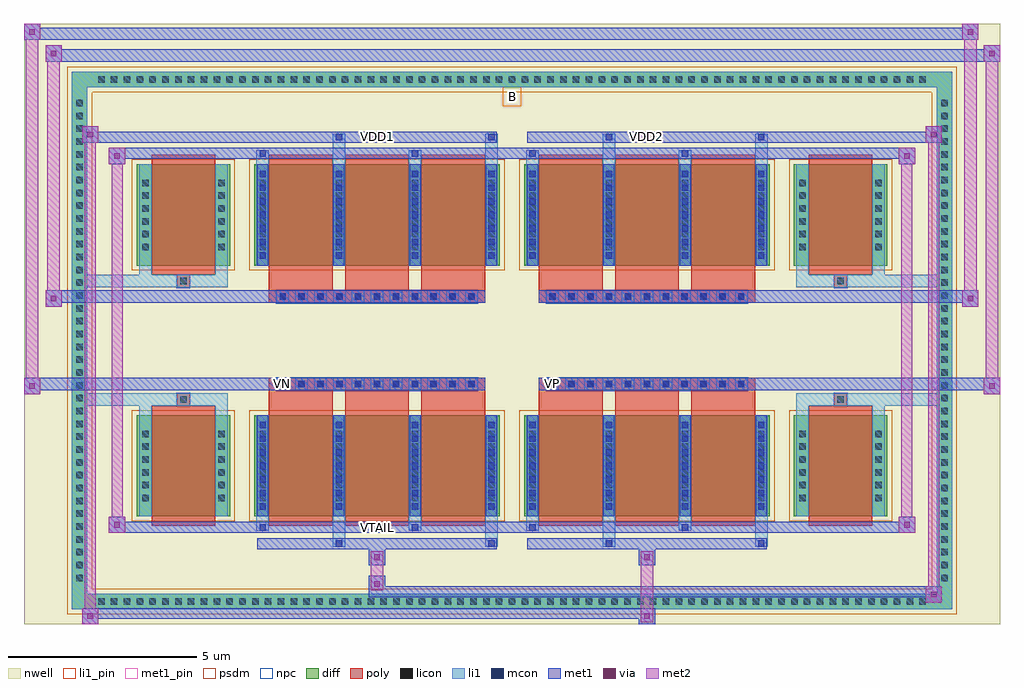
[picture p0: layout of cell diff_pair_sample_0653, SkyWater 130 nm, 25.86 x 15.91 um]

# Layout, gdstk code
import gdstk
lib = gdstk.Library(unit=1e-6, precision=5e-09)
def R(c, l, rs):  # rectangles x0, y0, x1, y1
    for r in rs: c.add(gdstk.rectangle(r[:2], r[2:], *l))
def A(c, l, x, y, w, h, nx, ny, dx, dy):  # array of equal rectangles
    R(c, l, [(x+i*dx, y+j*dy, x+i*dx+w, y+j*dy+h) for i in range(nx) for j in range(ny)])
def P(c, l, *ps):  # polygons
    for p in ps: c.add(gdstk.Polygon(p, *l))
nwell = (64, 20)
diff = (65, 20)
poly = (66, 20)
licon = (66, 44)
li1_pin = (67, 16)
li1 = (67, 20)
mcon = (67, 44)
met1_pin = (68, 16)
met1 = (68, 20)
via = (68, 44)
met2 = (69, 20)
psdm = (94, 20)
npc = (95, 20)

diff_pair_sample_0653 = lib.new_cell('diff_pair_sample_0653')
R(diff_pair_sample_0653, nwell, [(-12.93,-7.52,12.93,8.39), (-10.25,-5.71,-0.01,-0.795), (0.01,-5.71,10.25,-0.795), (-10.25,0.795,-0.01,5.71), (0.01,0.795,10.25,5.71)])
A(diff_pair_sample_0653, diff, -11.085, -7.12, 0.41, 0.41, 65, 2, 0.34, 13.83)
A(diff_pair_sample_0653, diff, -11.66, -6.495, 0.41, 0.41, 1, 38, 0, 0.34)
A(diff_pair_sample_0653, diff, 11.25, -6.495, 0.41, 0.41, 1, 38, 0, 0.34)
R(diff_pair_sample_0653, diff, [(-11.085,-7.12,11.085,-6.71), (-11.66,-6.495,-11.25,6.495), (11.25,-6.495,11.66,6.495), (-9.94,-4.665,-7.47,-1.985), (-6.83,-4.665,-0.32,-1.985), (0.32,-4.665,6.83,-1.985), (7.47,-4.665,9.94,-1.985), (-9.94,1.985,-7.47,4.665), (-6.83,1.985,-0.32,4.665), (0.32,1.985,6.83,4.665), (7.47,1.985,9.94,4.665), (-11.085,6.71,11.085,7.12)])
P(diff_pair_sample_0653, diff, [(11.66,7.12),(-11.66,7.12),(-11.66,-6.71),(-11.25,-6.71),(-11.25,6.71),(11.25,6.71),(11.25,-6.71),(-11.25,-6.71),(-11.66,-6.71),(-11.66,-7.12),(11.66,-7.12)])
A(diff_pair_sample_0653, poly, -6.44, -4.915, 1.69, 3.18, 3, 2, 2.02, 6.65)
A(diff_pair_sample_0653, poly, 0.71, -4.915, 1.69, 3.18, 3, 2, 2.02, 6.65)
A(diff_pair_sample_0653, poly, -6.44, -1.735, 1.69, 0.41, 3, 2, 2.02, 3.06)
A(diff_pair_sample_0653, poly, 0.71, -1.735, 1.69, 0.41, 3, 2, 2.02, 3.06)
A(diff_pair_sample_0653, poly, -6.24, -1.325, 0.33, 0.33, 11, 2, 0.5, 2.32)
A(diff_pair_sample_0653, poly, 0.91, -1.325, 0.33, 0.33, 11, 2, 0.5, 2.32)
R(diff_pair_sample_0653, poly, [(-9.55,-4.915,-7.86,-1.735), (7.86,-4.915,9.55,-1.735), (-8.87,-1.735,-8.54,-1.405), (-8.87,-1.735,-8.54,-1.405), (8.54,-1.735,8.87,-1.405), (8.54,-1.735,8.87,-1.405), (-6.44,-1.325,-0.71,-0.995), (0.71,-1.325,6.44,-0.995), (-6.44,0.995,-0.71,1.325), (0.71,0.995,6.44,1.325), (-8.87,1.405,-8.54,1.735), (-8.87,1.405,-8.54,1.735), (8.54,1.405,8.87,1.735), (8.54,1.405,8.87,1.735), (-9.55,1.735,-7.86,4.915), (7.86,1.735,9.55,4.915)])
A(diff_pair_sample_0653, licon, -10.965, -7, 0.17, 0.17, 65, 2, 0.34, 13.83)
A(diff_pair_sample_0653, licon, -11.54, -6.375, 0.17, 0.17, 1, 38, 0, 0.34)
A(diff_pair_sample_0653, licon, 11.37, -6.375, 0.17, 0.17, 1, 38, 0, 0.34)
A(diff_pair_sample_0653, licon, -9.8, -4.26, 0.17, 0.17, 1, 6, 0, 0.34)
A(diff_pair_sample_0653, licon, -7.78, -4.26, 0.17, 0.17, 1, 6, 0, 0.34)
A(diff_pair_sample_0653, licon, -6.69, -4.26, 0.17, 0.17, 4, 6, 2.02, 0.34)
A(diff_pair_sample_0653, licon, 0.46, -4.26, 0.17, 0.17, 4, 6, 2.02, 0.34)
A(diff_pair_sample_0653, licon, 7.61, -4.26, 0.17, 0.17, 1, 6, 0, 0.34)
A(diff_pair_sample_0653, licon, 9.63, -4.26, 0.17, 0.17, 1, 6, 0, 0.34)
A(diff_pair_sample_0653, licon, -6.16, -1.245, 0.17, 0.17, 11, 2, 0.5, 2.32)
A(diff_pair_sample_0653, licon, 0.99, -1.245, 0.17, 0.17, 11, 2, 0.5, 2.32)
A(diff_pair_sample_0653, licon, -9.8, 2.39, 0.17, 0.17, 1, 6, 0, 0.34)
A(diff_pair_sample_0653, licon, -7.78, 2.39, 0.17, 0.17, 1, 6, 0, 0.34)
A(diff_pair_sample_0653, licon, -6.69, 2.39, 0.17, 0.17, 4, 6, 2.02, 0.34)
A(diff_pair_sample_0653, licon, 0.46, 2.39, 0.17, 0.17, 4, 6, 2.02, 0.34)
A(diff_pair_sample_0653, licon, 7.61, 2.39, 0.17, 0.17, 1, 6, 0, 0.34)
A(diff_pair_sample_0653, licon, 9.63, 2.39, 0.17, 0.17, 1, 6, 0, 0.34)
R(diff_pair_sample_0653, licon, [(-8.79,-1.655,-8.62,-1.485), (8.62,-1.655,8.79,-1.485), (-8.79,1.485,-8.62,1.655), (8.62,1.485,8.79,1.655)])
R(diff_pair_sample_0653, li1_pin, [(-0.25,6.21,0.25,6.71)])
A(diff_pair_sample_0653, li1, -11.045, -7.08, 0.33, 0.33, 65, 2, 0.34, 13.83)
A(diff_pair_sample_0653, li1, -11.62, -6.455, 0.33, 0.33, 1, 38, 0, 0.34)
A(diff_pair_sample_0653, li1, 11.29, -6.455, 0.33, 0.33, 1, 38, 0, 0.34)
A(diff_pair_sample_0653, li1, -6.77, -4.665, 0.33, 2.68, 4, 2, 2.02, 6.65)
A(diff_pair_sample_0653, li1, 0.38, -4.665, 0.33, 2.68, 4, 2, 2.02, 6.65)
A(diff_pair_sample_0653, li1, -6.69, -4.49, 0.17, 0.17, 4, 7, 2.02, 0.36)
A(diff_pair_sample_0653, li1, -6.69, -4.49, 0.17, 2.33, 4, 2, 2.02, 6.65)
A(diff_pair_sample_0653, li1, 0.46, -4.49, 0.17, 0.17, 4, 7, 2.02, 0.36)
A(diff_pair_sample_0653, li1, 0.46, -4.49, 0.17, 2.33, 4, 2, 2.02, 6.65)
A(diff_pair_sample_0653, li1, -9.88, -4.34, 0.33, 0.33, 1, 6, 0, 0.34)
A(diff_pair_sample_0653, li1, -7.86, -4.34, 0.33, 0.33, 1, 6, 0, 0.34)
A(diff_pair_sample_0653, li1, -6.77, -4.34, 0.33, 0.33, 4, 6, 2.02, 0.34)
A(diff_pair_sample_0653, li1, 0.38, -4.34, 0.33, 0.33, 4, 6, 2.02, 0.34)
A(diff_pair_sample_0653, li1, 7.53, -4.34, 0.33, 0.33, 1, 6, 0, 0.34)
A(diff_pair_sample_0653, li1, 9.55, -4.34, 0.33, 0.33, 1, 6, 0, 0.34)
A(diff_pair_sample_0653, li1, -6.24, -1.325, 0.33, 0.33, 11, 2, 0.5, 2.32)
A(diff_pair_sample_0653, li1, 0.91, -1.325, 0.33, 0.33, 11, 2, 0.5, 2.32)
A(diff_pair_sample_0653, li1, -6.69, 2.16, 0.17, 0.17, 4, 7, 2.02, 0.36)
A(diff_pair_sample_0653, li1, 0.46, 2.16, 0.17, 0.17, 4, 7, 2.02, 0.36)
A(diff_pair_sample_0653, li1, -9.88, 2.31, 0.33, 0.33, 1, 6, 0, 0.34)
A(diff_pair_sample_0653, li1, -7.86, 2.31, 0.33, 0.33, 1, 6, 0, 0.34)
A(diff_pair_sample_0653, li1, -6.77, 2.31, 0.33, 0.33, 4, 6, 2.02, 0.34)
A(diff_pair_sample_0653, li1, 0.38, 2.31, 0.33, 0.33, 4, 6, 2.02, 0.34)
A(diff_pair_sample_0653, li1, 7.53, 2.31, 0.33, 0.33, 1, 6, 0, 0.34)
A(diff_pair_sample_0653, li1, 9.55, 2.31, 0.33, 0.33, 1, 6, 0, 0.34)
R(diff_pair_sample_0653, li1, [(-11.66,-7.12,-11.25,-6.71), (-11.66,-7.12,-11.25,-6.71), (-11.25,-7.12,11.25,-6.71), (11.25,-7.12,11.66,-6.71), (11.25,-7.12,11.66,-6.71), (-11.66,-6.71,-11.25,6.71), (11.25,-6.71,11.66,6.71), (-4.75,-5.47,-4.42,-4.665), (-4.67,-5.47,-4.5,-5.3), (-0.71,-5.47,-0.38,-4.665), (-0.63,-5.47,-0.46,-5.3), (2.4,-5.47,2.73,-4.665), (2.48,-5.47,2.65,-5.3), (6.44,-5.47,6.77,-4.665), (6.52,-5.47,6.69,-5.3), (-6.77,-5.04,-6.44,-4.665), (-6.69,-5.04,-6.52,-4.87), (-2.73,-5.04,-2.4,-4.665), (-2.65,-5.04,-2.48,-4.87), (0.38,-5.04,0.71,-4.665), (0.46,-5.04,0.63,-4.87), (4.42,-5.04,4.75,-4.665), (4.5,-5.04,4.67,-4.87), (-9.88,-4.665,-9.55,-1.985), (-7.86,-4.665,-7.53,-1.985), (7.53,-4.665,7.86,-1.985), (9.55,-4.665,9.88,-1.985), (-9.88,-1.985,-9.55,-1.405), (-7.86,-1.985,-7.53,-1.405), (7.53,-1.985,7.86,-1.405), (9.55,-1.985,9.88,-1.405), (-11.66,-1.735,-8.87,-1.405), (-9.88,-1.735,-8.87,-1.405), (-8.87,-1.735,-8.54,-1.405), (-8.54,-1.735,-7.53,-1.405), (7.53,-1.735,8.54,-1.405), (8.54,-1.735,8.87,-1.405), (8.54,-1.735,11.66,-1.405), (8.87,-1.735,9.88,-1.405), (-11.66,1.405,-8.87,1.735), (-9.88,1.405,-8.87,1.735), (-9.88,1.405,-9.55,1.985), (-8.87,1.405,-8.54,1.735), (-8.54,1.405,-7.53,1.735), (-7.86,1.405,-7.53,1.985), (7.53,1.405,8.54,1.735), (7.53,1.405,7.86,1.985), (8.54,1.405,8.87,1.735), (8.54,1.405,11.66,1.735), (8.87,1.405,9.88,1.735), (9.55,1.405,9.88,1.985), (-9.88,1.985,-9.55,4.665), (-7.86,1.985,-7.53,4.665), (7.53,1.985,7.86,4.665), (9.55,1.985,9.88,4.665), (-6.77,4.665,-6.44,5.04), (-4.75,4.665,-4.42,5.47), (-2.73,4.665,-2.4,5.04), (-0.71,4.665,-0.38,5.47), (0.38,4.665,0.71,5.04), (2.4,4.665,2.73,5.47), (4.42,4.665,4.75,5.04), (6.44,4.665,6.77,5.47), (-6.69,4.87,-6.52,5.04), (-2.65,4.87,-2.48,5.04), (0.46,4.87,0.63,5.04), (4.5,4.87,4.67,5.04), (-4.67,5.3,-4.5,5.47), (-0.63,5.3,-0.46,5.47), (2.48,5.3,2.65,5.47), (6.52,5.3,6.69,5.47), (-11.66,6.71,-11.25,7.12), (-11.66,6.71,-11.25,7.12), (-11.25,6.71,11.25,7.12), (11.25,6.71,11.66,7.12), (11.25,6.71,11.66,7.12)])
A(diff_pair_sample_0653, mcon, -6.69, -4.49, 0.17, 0.17, 4, 7, 2.02, 0.36)
A(diff_pair_sample_0653, mcon, 0.46, -4.49, 0.17, 0.17, 4, 7, 2.02, 0.36)
A(diff_pair_sample_0653, mcon, -6.16, -1.245, 0.17, 0.17, 11, 2, 0.5, 2.32)
A(diff_pair_sample_0653, mcon, 0.99, -1.245, 0.17, 0.17, 11, 2, 0.5, 2.32)
A(diff_pair_sample_0653, mcon, -6.69, 2.16, 0.17, 0.17, 4, 7, 2.02, 0.36)
A(diff_pair_sample_0653, mcon, 0.46, 2.16, 0.17, 0.17, 4, 7, 2.02, 0.36)
R(diff_pair_sample_0653, mcon, [(-4.67,-5.47,-4.5,-5.3), (-0.63,-5.47,-0.46,-5.3), (2.48,-5.47,2.65,-5.3), (6.52,-5.47,6.69,-5.3), (-6.69,-5.04,-6.52,-4.87), (-2.65,-5.04,-2.48,-4.87), (0.46,-5.04,0.63,-4.87), (4.5,-5.04,4.67,-4.87), (-6.69,4.87,-6.52,5.04), (-2.65,4.87,-2.48,5.04), (0.46,4.87,0.63,5.04), (4.5,4.87,4.67,5.04), (-4.67,5.3,-4.5,5.47), (-0.63,5.3,-0.46,5.47), (2.48,5.3,2.65,5.47), (6.52,5.3,6.69,5.47)])
R(diff_pair_sample_0653, met1_pin, [(-3.71,-5.08,-3.44,-4.81), (-6.21,-1.285,-5.94,-1.015), (0.94,-1.285,1.21,-1.015), (-3.71,5.26,-3.44,5.53), (3.44,5.26,3.71,5.53)])
A(diff_pair_sample_0653, met1, -6.75, -4.665, 0.29, 2.68, 4, 2, 2.02, 6.65)
A(diff_pair_sample_0653, met1, 0.4, -4.665, 0.29, 2.68, 4, 2, 2.02, 6.65)
A(diff_pair_sample_0653, met1, -6.75, -4.55, 0.29, 0.29, 4, 7, 2.02, 0.36)
A(diff_pair_sample_0653, met1, 0.4, -4.55, 0.29, 0.29, 4, 7, 2.02, 0.36)
A(diff_pair_sample_0653, met1, -6.22, -1.305, 0.29, 0.29, 11, 2, 0.5, 2.32)
A(diff_pair_sample_0653, met1, 0.93, -1.305, 0.29, 0.29, 11, 2, 0.5, 2.32)
A(diff_pair_sample_0653, met1, -6.75, 2.1, 0.29, 0.29, 4, 7, 2.02, 0.36)
A(diff_pair_sample_0653, met1, 0.4, 2.1, 0.29, 0.29, 4, 7, 2.02, 0.36)
R(diff_pair_sample_0653, met1, [(-11.39,-7.52,-10.96,-7.09), (3.36,-7.52,3.79,-7.09), (-11.39,-7.38,3.79,-7.09), (10.96,-6.95,11.39,-6.52), (-3.79,-6.81,11.39,-6.52), (-3.79,-6.67,-3.36,-6.24), (-3.79,-5.96,-3.36,-5.53), (3.36,-5.96,3.79,-5.53), (-6.75,-5.53,-0.4,-5.24), (-4.73,-5.53,-4.44,-5.24), (-0.69,-5.53,-0.4,-5.24), (0.4,-5.53,6.75,-5.24), (2.42,-5.53,2.71,-5.24), (6.46,-5.53,6.75,-5.24), (-10.68,-5.1,-10.25,-4.67), (-10.68,-5.1,-6.75,-4.81), (-6.75,-5.1,-6.46,-4.81), (-6.75,-5.1,-0.4,-4.81), (-2.71,-5.1,-2.42,-4.81), (-0.4,-5.1,0.4,-4.81), (0.4,-5.1,0.69,-4.81), (0.4,-5.1,6.75,-4.81), (4.44,-5.1,4.73,-4.81), (6.75,-5.1,10.68,-4.81), (10.25,-5.1,10.68,-4.67), (-12.93,-1.425,-12.5,-0.995), (12.5,-1.425,12.93,-0.995), (-12.93,-1.325,-0.71,-0.995), (-6.44,-1.325,-0.71,-0.995), (0.71,-1.325,6.44,-0.995), (0.71,-1.325,12.93,-0.995), (-12.36,0.895,-11.93,1.325), (11.93,0.895,12.36,1.325), (-12.36,0.995,-6.44,1.325), (-6.44,0.995,-0.71,1.325), (0.71,0.995,6.44,1.325), (6.44,0.995,12.36,1.325), (-10.68,4.67,-10.25,5.1), (10.25,4.67,10.68,5.1), (-10.68,4.81,-6.75,5.1), (-6.75,4.81,-6.46,5.1), (-6.75,4.81,-0.4,5.1), (-2.71,4.81,-2.42,5.1), (-0.4,4.81,0.4,5.1), (0.4,4.81,0.69,5.1), (0.4,4.81,6.75,5.1), (4.44,4.81,4.73,5.1), (6.75,4.81,10.68,5.1), (-11.39,5.24,-10.96,5.67), (-11.39,5.24,-6.75,5.53), (-6.75,5.24,-0.4,5.53), (-4.73,5.24,-4.44,5.53), (-0.69,5.24,-0.4,5.53), (0.4,5.24,6.75,5.53), (2.42,5.24,2.71,5.53), (6.46,5.24,6.75,5.53), (6.75,5.24,11.39,5.53), (10.96,5.24,11.39,5.67), (-12.36,7.39,-11.93,7.82), (-12.36,7.39,-10.25,7.72), (-10.25,7.39,10.25,7.72), (10.25,7.39,12.93,7.72), (12.5,7.39,12.93,7.82), (-12.93,7.96,-12.5,8.39), (-12.93,7.96,-10.25,8.29), (-10.25,7.96,10.25,8.29), (10.25,7.96,12.36,8.29), (11.93,7.96,12.36,8.39)])
R(diff_pair_sample_0653, via, [(-11.25,-7.38,-11.1,-7.23), (3.5,-7.38,3.65,-7.23), (11.1,-6.81,11.25,-6.66), (-3.65,-6.53,-3.5,-6.38), (-3.65,-5.82,-3.5,-5.67), (3.5,-5.82,3.65,-5.67), (-10.54,-4.96,-10.39,-4.81), (10.39,-4.96,10.54,-4.81), (-12.79,-1.285,-12.64,-1.135), (12.64,-1.285,12.79,-1.135), (-12.22,1.035,-12.07,1.185), (12.07,1.035,12.22,1.185), (-10.54,4.81,-10.39,4.96), (10.39,4.81,10.54,4.96), (-11.25,5.38,-11.1,5.53), (11.1,5.38,11.25,5.53), (-12.22,7.53,-12.07,7.68), (12.64,7.53,12.79,7.68), (-12.79,8.1,-12.64,8.25), (12.07,8.1,12.22,8.25)])
R(diff_pair_sample_0653, met2, [(-11.39,-7.52,-10.96,-7.09), (-11.32,-7.52,-11.03,5.67), (-11.03,-7.52,-10.96,-7.09), (-11.34,-7.47,-11.01,-7.14), (3.41,-7.47,3.74,-7.14), (3.41,-7.14,3.74,-5.91), (10.96,-6.95,11.39,-6.52), (11.03,-6.95,11.32,5.67), (11.32,-6.95,11.39,-6.52), (11.01,-6.9,11.34,-6.57), (-3.74,-6.62,-3.41,-6.29), (-3.74,-6.29,-3.41,-5.91), (-3.74,-5.91,-3.41,-5.58), (3.41,-5.91,3.74,-5.58), (-10.68,-5.1,-10.25,-4.67), (-10.61,-5.1,-10.32,5.1), (-10.32,-5.1,-10.25,-4.67), (10.25,-5.1,10.68,-4.67), (10.32,-5.1,10.61,5.1), (10.61,-5.1,10.68,-4.67), (-10.63,-5.05,-10.3,-4.72), (10.3,-5.05,10.63,-4.72), (-12.93,-1.425,-12.5,-0.995), (-12.88,-1.425,-12.55,8.39), (-12.55,-1.425,-12.5,-0.995), (12.5,-1.425,12.93,-0.995), (12.55,-1.425,12.88,7.82), (12.88,-1.425,12.93,-0.995), (-12.88,-1.375,-12.55,-1.045), (12.55,-1.375,12.88,-1.045), (-12.36,0.895,-11.93,1.325), (-12.31,0.895,-11.98,7.82), (-11.98,0.895,-11.93,1.325), (11.93,0.895,12.36,1.325), (11.98,0.895,12.31,8.39), (12.31,0.895,12.36,1.325), (-12.31,0.945,-11.98,1.275), (11.98,0.945,12.31,1.275), (-10.68,4.67,-10.25,5.1), (-10.32,4.67,-10.25,5.1), (10.25,4.67,10.68,5.1), (10.61,4.67,10.68,5.1), (-10.63,4.72,-10.3,5.05), (10.3,4.72,10.63,5.05), (-11.39,5.24,-10.96,5.67), (-11.03,5.24,-10.96,5.67), (10.96,5.24,11.39,5.67), (11.32,5.24,11.39,5.67), (-11.34,5.29,-11.01,5.62), (11.01,5.29,11.34,5.62), (-12.36,7.39,-11.93,7.82), (-11.98,7.39,-11.93,7.82), (12.5,7.39,12.93,7.82), (12.88,7.39,12.93,7.82), (-12.31,7.44,-11.98,7.77), (12.55,7.44,12.88,7.77), (-12.93,7.96,-12.5,8.39), (-12.55,7.96,-12.5,8.39), (11.93,7.96,12.36,8.39), (12.31,7.96,12.36,8.39), (-12.88,8.01,-12.55,8.34), (11.98,8.01,12.31,8.34)])
R(diff_pair_sample_0653, psdm, [(-10.07,-4.795,-7.34,-1.855), (-6.96,-4.795,-0.19,-1.855), (0.19,-4.795,6.96,-1.855), (7.34,-4.795,10.07,-1.855), (-10.07,1.855,-7.34,4.795), (-6.96,1.855,-0.19,4.795), (0.19,1.855,6.96,4.795), (7.34,1.855,10.07,4.795)])
P(diff_pair_sample_0653, psdm, [(11.79,7.25),(-11.79,7.25),(-11.79,-6.58),(-11.12,-6.58),(-11.12,6.58),(11.12,6.58),(11.12,-6.58),(-11.12,-6.58),(-11.79,-6.58),(-11.79,-7.25),(11.79,-7.25)])
A(diff_pair_sample_0653, npc, -6.26, -1.345, 0.37, 0.37, 11, 2, 0.5, 2.32)
A(diff_pair_sample_0653, npc, 0.89, -1.345, 0.37, 0.37, 11, 2, 0.5, 2.32)
R(diff_pair_sample_0653, npc, [(-8.89,-1.755,-8.52,-1.385), (8.52,-1.755,8.89,-1.385), (-6.26,-1.345,-5.39,-0.975), (-6.26,-1.345,-5.39,-0.975), (-5.76,-1.345,-4.89,-0.975), (-5.76,-1.345,-4.89,-0.975), (-5.26,-1.345,-4.39,-0.975), (-5.26,-1.345,-4.39,-0.975), (-4.76,-1.345,-3.89,-0.975), (-4.76,-1.345,-3.89,-0.975), (-4.26,-1.345,-3.39,-0.975), (-4.26,-1.345,-3.39,-0.975), (-3.76,-1.345,-2.89,-0.975), (-3.76,-1.345,-2.89,-0.975), (-3.26,-1.345,-2.39,-0.975), (-3.26,-1.345,-2.39,-0.975), (-2.76,-1.345,-1.89,-0.975), (-2.76,-1.345,-1.89,-0.975), (-2.26,-1.345,-1.39,-0.975), (-2.26,-1.345,-1.39,-0.975), (-1.76,-1.345,-0.89,-0.975), (-1.76,-1.345,-0.89,-0.975), (0.89,-1.345,1.76,-0.975), (0.89,-1.345,1.76,-0.975), (1.39,-1.345,2.26,-0.975), (1.39,-1.345,2.26,-0.975), (1.89,-1.345,2.76,-0.975), (1.89,-1.345,2.76,-0.975), (2.39,-1.345,3.26,-0.975), (2.39,-1.345,3.26,-0.975), (2.89,-1.345,3.76,-0.975), (2.89,-1.345,3.76,-0.975), (3.39,-1.345,4.26,-0.975), (3.39,-1.345,4.26,-0.975), (3.89,-1.345,4.76,-0.975), (3.89,-1.345,4.76,-0.975), (4.39,-1.345,5.26,-0.975), (4.39,-1.345,5.26,-0.975), (4.89,-1.345,5.76,-0.975), (4.89,-1.345,5.76,-0.975), (5.39,-1.345,6.26,-0.975), (5.39,-1.345,6.26,-0.975), (-6.26,0.975,-5.39,1.345), (-6.26,0.975,-5.39,1.345), (-5.76,0.975,-4.89,1.345), (-5.76,0.975,-4.89,1.345), (-5.26,0.975,-4.39,1.345), (-5.26,0.975,-4.39,1.345), (-4.76,0.975,-3.89,1.345), (-4.76,0.975,-3.89,1.345), (-4.26,0.975,-3.39,1.345), (-4.26,0.975,-3.39,1.345), (-3.76,0.975,-2.89,1.345), (-3.76,0.975,-2.89,1.345), (-3.26,0.975,-2.39,1.345), (-3.26,0.975,-2.39,1.345), (-2.76,0.975,-1.89,1.345), (-2.76,0.975,-1.89,1.345), (-2.26,0.975,-1.39,1.345), (-2.26,0.975,-1.39,1.345), (-1.76,0.975,-0.89,1.345), (-1.76,0.975,-0.89,1.345), (0.89,0.975,1.76,1.345), (0.89,0.975,1.76,1.345), (1.39,0.975,2.26,1.345), (1.39,0.975,2.26,1.345), (1.89,0.975,2.76,1.345), (1.89,0.975,2.76,1.345), (2.39,0.975,3.26,1.345), (2.39,0.975,3.26,1.345), (2.89,0.975,3.76,1.345), (2.89,0.975,3.76,1.345), (3.39,0.975,4.26,1.345), (3.39,0.975,4.26,1.345), (3.89,0.975,4.76,1.345), (3.89,0.975,4.76,1.345), (4.39,0.975,5.26,1.345), (4.39,0.975,5.26,1.345), (4.89,0.975,5.76,1.345), (4.89,0.975,5.76,1.345), (5.39,0.975,6.26,1.345), (5.39,0.975,6.26,1.345), (-8.89,1.385,-8.52,1.755), (8.52,1.385,8.89,1.755)])
diff_pair_sample_0653.add(gdstk.Label('VTAIL', (-3.575,-4.945), layer=68, texttype=5))
diff_pair_sample_0653.add(gdstk.Label('VN', (-6.075,-1.15), layer=68, texttype=5))
diff_pair_sample_0653.add(gdstk.Label('VP', (1.075,-1.15), layer=68, texttype=5))
diff_pair_sample_0653.add(gdstk.Label('B', (0,6.46), layer=67, texttype=5))
diff_pair_sample_0653.add(gdstk.Label('VDD2', (3.575,5.395), layer=68, texttype=5))
diff_pair_sample_0653.add(gdstk.Label('VDD1', (-3.575,5.395), layer=68, texttype=5))

lib.write_gds('diff_pair_sample_0653.gds')
